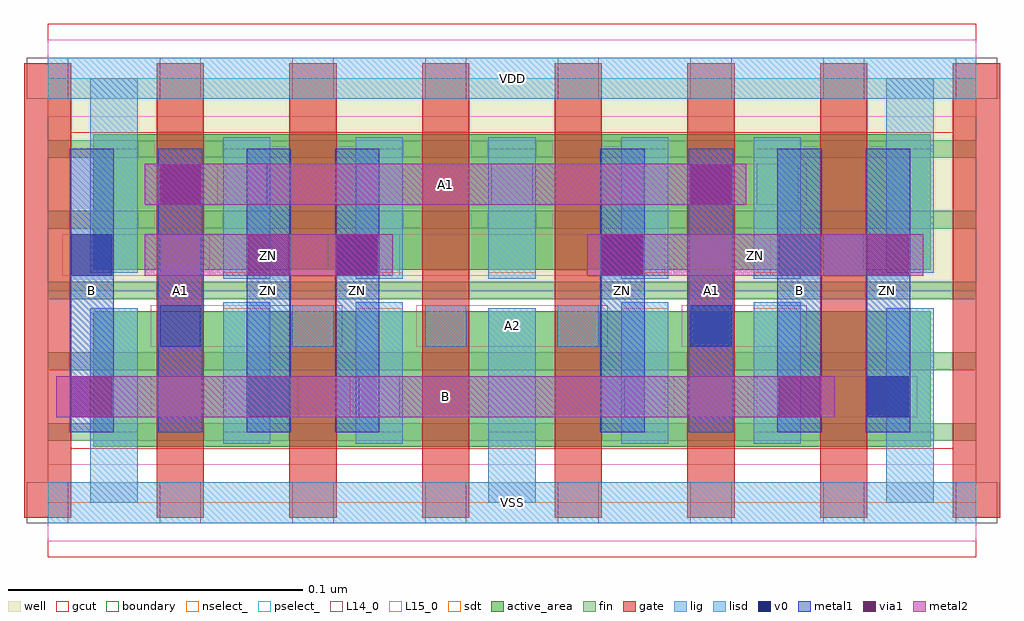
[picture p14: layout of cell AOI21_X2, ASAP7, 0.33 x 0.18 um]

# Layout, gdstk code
import gdstk
lib = gdstk.Library(unit=1e-6, precision=2.5e-10)
def R(c, l, rs):  # rectangles x0, y0, x1, y1
    for r in rs: c.add(gdstk.rectangle(r[:2], r[2:], *l))
def A(c, l, x, y, w, h, nx, ny, dx, dy):  # array of equal rectangles
    R(c, l, [(x+i*dx, y+j*dy, x+i*dx+w, y+j*dy+h) for i in range(nx) for j in range(ny)])
well = (1, 0)
fin = (2, 0)
gate = (7, 0)
gcut = (10, 0)
active_area = (11, 0)
nselect_ = (12, 0)
pselect_ = (13, 0)
L14_0 = (14, 0)
L15_0 = (15, 0)
lig = (16, 0)
lisd = (17, 0)
v0 = (18, 0)
metal1 = (19, 0)
metal2 = (20, 0)
via1 = (21, 0)
sdt = (88, 0)
boundary = (100, 0)

aoi21_x2 = lib.new_cell('AOI21_X2')
R(aoi21_x2, well, [(0,0.072,0.315,0.144)])
A(aoi21_x2, fin, 0, 0.021, 0.315, 0.006, 1, 5, 0, 0.024)
A(aoi21_x2, gate, -0.008, -0.005, 0.016, 0.154, 8, 1, 0.045, 0)
R(aoi21_x2, gcut, [(0,-0.0185,0.315,0.0185), (-0.008,-0.005,0.008,0.149), (0.307,-0.005,0.323,0.149), (0,0.1255,0.315,0.1625)])
A(aoi21_x2, active_area, 0.0155, 0.019, 0.059, 0.046, 6, 2, 0.045, 0.06)
R(aoi21_x2, nselect_, [(0,0,0.315,0.072)])
R(aoi21_x2, pselect_, [(0,0.072,0.315,0.144)])
A(aoi21_x2, L14_0, -0.007, -0.007, 0.014, 0.014, 8, 2, 0.045, 0.144)
A(aoi21_x2, L14_0, 0.083, 0.053, 0.014, 0.014, 4, 1, 0.045, 0)
A(aoi21_x2, L14_0, 0.0605, 0.101, 0.014, 0.014, 3, 1, 0.09, 0)
R(aoi21_x2, L14_0, [(0.0605,0.029,0.0745,0.043), (0.1055,0.029,0.1195,0.043), (0.1955,0.029,0.2095,0.043), (0.2405,0.029,0.2545,0.043), (0.038,0.077,0.052,0.091), (0.1055,0.077,0.1195,0.091), (0.1955,0.077,0.2095,0.091), (0.263,0.077,0.277,0.091)])
R(aoi21_x2, L15_0, [(0,-0.013,0.315,0.013), (0.035,0.029,0.085,0.043), (0.1025,0.029,0.2125,0.043), (0.2375,0.029,0.295,0.043), (0.035,0.053,0.1,0.067), (0.125,0.053,0.19,0.067), (0.215,0.053,0.2575,0.067), (0.005,0.077,0.055,0.091), (0.095,0.077,0.2125,0.091), (0.245,0.077,0.28,0.091), (0.0575,0.101,0.2575,0.115), (0,0.131,0.315,0.157)])
A(aoi21_x2, lig, 0.083, 0.053, 0.014, 0.014, 4, 1, 0.045, 0)
R(aoi21_x2, lig, [(0,-0.007,0.315,0.007), (0.038,0.077,0.052,0.091), (0.263,0.077,0.277,0.091), (0,0.137,0.315,0.151)])
R(aoi21_x2, lisd, [(0.0145,0,0.0305,0.066), (0.1495,0,0.1655,0.066), (0.1495,0,0.1655,0.066), (0.2845,0,0.3005,0.066), (0.0595,0.02,0.0755,0.068), (0.0595,0.02,0.0755,0.068), (0.1045,0.02,0.1205,0.068), (0.1045,0.02,0.1205,0.068), (0.1945,0.02,0.2105,0.068), (0.1945,0.02,0.2105,0.068), (0.2395,0.02,0.2555,0.068), (0.2395,0.02,0.2555,0.068), (0.0595,0.076,0.0755,0.124), (0.0595,0.076,0.0755,0.124), (0.1045,0.076,0.1205,0.124), (0.1045,0.076,0.1205,0.124), (0.1495,0.076,0.1655,0.124), (0.1495,0.076,0.1655,0.124), (0.1945,0.076,0.2105,0.124), (0.1945,0.076,0.2105,0.124), (0.2395,0.076,0.2555,0.124), (0.2395,0.076,0.2555,0.124), (0.0145,0.078,0.0305,0.144), (0.2845,0.078,0.3005,0.144)])
A(aoi21_x2, v0, 0.008, 0.077, 0.014, 0.014, 3, 1, 0.09, 0)
R(aoi21_x2, v0, [(0.068,0.029,0.082,0.043), (0.278,0.029,0.292,0.043), (0.038,0.053,0.052,0.067), (0.218,0.053,0.232,0.067), (0.248,0.077,0.262,0.091)])
A(aoi21_x2, metal1, 0.0075, 0.024, 0.015, 0.096, 4, 1, 0.03, 0)
A(aoi21_x2, metal1, 0.1875, 0.024, 0.015, 0.096, 4, 1, 0.03, 0)
R(aoi21_x2, metal2, [(0.003,0.029,0.267,0.043), (0.033,0.077,0.117,0.091), (0.183,0.077,0.297,0.091), (0.033,0.101,0.237,0.115)])
A(aoi21_x2, via1, 0.098, 0.077, 0.014, 0.014, 3, 1, 0.09, 0)
R(aoi21_x2, via1, [(0.008,0.029,0.022,0.043), (0.248,0.029,0.262,0.043), (0.068,0.077,0.082,0.091), (0.038,0.101,0.052,0.115), (0.218,0.101,0.232,0.115)])
R(aoi21_x2, sdt, [(0.0145,0.024,0.0305,0.066), (0.0595,0.024,0.0755,0.066), (0.0595,0.024,0.0755,0.066), (0.1045,0.024,0.1205,0.066), (0.1045,0.024,0.1205,0.066), (0.1495,0.024,0.1655,0.066), (0.1495,0.024,0.1655,0.066), (0.1945,0.024,0.2105,0.066), (0.1945,0.024,0.2105,0.066), (0.2395,0.024,0.2555,0.066), (0.2395,0.024,0.2555,0.066), (0.2845,0.024,0.3005,0.066), (0.0145,0.078,0.0305,0.12), (0.0595,0.078,0.0755,0.12), (0.0595,0.078,0.0755,0.12), (0.1045,0.078,0.1205,0.12), (0.1045,0.078,0.1205,0.12), (0.1495,0.078,0.1655,0.12), (0.1495,0.078,0.1655,0.12), (0.1945,0.078,0.2105,0.12), (0.1945,0.078,0.2105,0.12), (0.2395,0.078,0.2555,0.12), (0.2395,0.078,0.2555,0.12), (0.2845,0.078,0.3005,0.12)])
R(aoi21_x2, boundary, [(0,0,0.315,0.144)])
aoi21_x2.add(gdstk.Label('VDD', (0.1575,0.144), layer=1, texttype=251))
aoi21_x2.add(gdstk.Label('VSS', (0.1575,0), layer=3, texttype=251))
aoi21_x2.add(gdstk.Label('A2', (0.1575,0.06), layer=15, texttype=251))
aoi21_x2.add(gdstk.Label('VSS', (0.1575,0), layer=15, texttype=251))
aoi21_x2.add(gdstk.Label('VDD', (0.1575,0.144), layer=15, texttype=251))
aoi21_x2.add(gdstk.Label('B', (0.015,0.072), layer=19, texttype=251))
aoi21_x2.add(gdstk.Label('A1', (0.045,0.072), layer=19, texttype=251))
aoi21_x2.add(gdstk.Label('ZN', (0.075,0.072), layer=19, texttype=251))
aoi21_x2.add(gdstk.Label('ZN', (0.105,0.072), layer=19, texttype=251))
aoi21_x2.add(gdstk.Label('ZN', (0.195,0.072), layer=19, texttype=251))
aoi21_x2.add(gdstk.Label('A1', (0.225,0.072), layer=19, texttype=251))
aoi21_x2.add(gdstk.Label('B', (0.255,0.072), layer=19, texttype=251))
aoi21_x2.add(gdstk.Label('ZN', (0.285,0.072), layer=19, texttype=251))
aoi21_x2.add(gdstk.Label('B', (0.135,0.036), layer=20, texttype=251))
aoi21_x2.add(gdstk.Label('ZN', (0.075,0.084), layer=20, texttype=251))
aoi21_x2.add(gdstk.Label('ZN', (0.24,0.084), layer=20, texttype=251))
aoi21_x2.add(gdstk.Label('A1', (0.135,0.108), layer=20, texttype=251))

lib.write_gds('AOI21_X2.gds')
